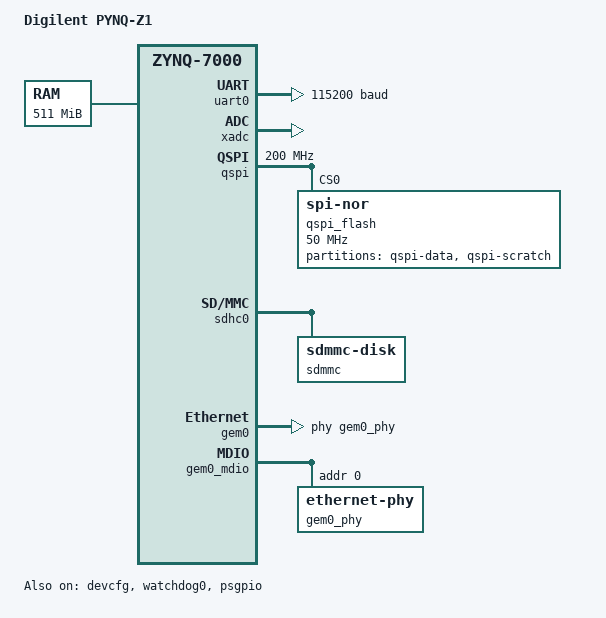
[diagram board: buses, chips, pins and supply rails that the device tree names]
/*
 * SPDX-License-Identifier: Apache-2.0
 */

/dts-v1/;
#include <xilinx/zynq7000.dtsi>
#include "pynq_z1-pinctrl.dtsi"

/ {
	compatible = "digilent,zynq-pynq-z1", "xlnx,zynq-7000";
	model = "Digilent PYNQ-Z1";

	#address-cells = <1>;
	#size-cells = <1>;

	aliases {
		watchdog0 = &watchdog0;
	};

	chosen {
		zephyr,sram = &sram0;
		zephyr,console = &uart0;
		zephyr,shell-uart = &uart0;
		zephyr,ocm = &ocm_high;
	};

	cpus {
		#address-cells = <1>;
		#size-cells = <0>;

		cpu0: cpu@0 {
			compatible = "arm,cortex-a9";
			reg = <0>;
			device_type = "cpu";
		};

		cpu1: cpu@1 {
			compatible = "arm,cortex-a9";
			reg = <1>;
			device_type = "cpu";
		};
	};

	/*
	 * 512 MB DDR3. Reserve the low 1 MB so Zephyr does not overlap memory
	 * used by U-Boot or the ARM exception vector table relocated to 0x0.
	 */
	sram0: memory@100000 {
		compatible = "mmio-sram";
		reg = <0x00100000 DT_SIZE_M(511)>;
	};
};

/* The GTC is clocked at 1/2 of the CPU frequency (650 MHz / 2 = 325 MHz) */
&arch_timer {
	clock-frequency = <325000000>;
};

&uart0 {
	current-speed = <115200>;
	clock-frequency = <100000000>;
	pinctrl-0 = <&pinctrl_uart0_default>;
	pinctrl-names = "default";
	status = "okay";
};

&devcfg {
	status = "okay";
};

&xadc {
	/* PS_CLK is a 50 MHz oscillator: ARM PLL 1300 MHz (CPU 650 MHz), IO PLL 1000 MHz */
	ps-clk-frequency = <50000000>;
	/*
	 * Arduino analog pins A0-A5 are VAUX1, VAUX9, VAUX6, VAUX15, VAUX5 and VAUX13. The board
	 * scales 0-3.3 V down to the 0-1 V XADC range; all of them are unipolar.
	 */
	xlnx,channels = <1 9 6 15 5 13>;
	status = "okay";
};

&watchdog0 {
	/* SWDT runs from CPU_1x = 650 MHz / 6 */
	clock-frequency = <108333333>;
	status = "okay";
};

&dmac_s {
	status = "okay";
};

&qspi {
	/* LQSPI reference clock: IO PLL 1000 MHz / 5, programmed by the boot firmware */
	clock-frequency = <200000000>;
	status = "okay";

	qspi_flash: flash@0 {
		compatible = "jedec,spi-nor";
		reg = <0>;
		spi-max-frequency = <50000000>;
		jedec-id = [ef 70 18]; /* Winbond W25Q128JV-IM */
		size = <DT_SIZE_M(128)>; /* bits: 16 MiB */

		partitions {
			compatible = "fixed-partitions";
			#address-cells = <1>;
			#size-cells = <1>;

			/* Untouched: whatever the board shipped or was provisioned with */
			qspi_data: partition@0 {
				label = "qspi-data";
				reg = <0x00000000 DT_SIZE_M(15)>;
				read-only;
			};

			/* The only region the tests may erase or program */
			qspi_scratch: partition@f00000 {
				label = "qspi-scratch";
				reg = <0x00f00000 DT_SIZE_M(1)>;
			};
		};
	};
};

&sdhci_ref_clk {
	/* SLCR SDIO_CLK_CTRL as left by the boot firmware: IO PLL 1000 MHz / 20 */
	clock-frequency = <DT_FREQ_M(50)>;
};

&sdhc0 {
	/*
	 * microSD slot on MIO40-45 (SDIO0). The MIO mux, card-detect routing and SDIO reference
	 * clock are programmed by the boot firmware (BootROM/FSBL/U-Boot boot from this slot).
	 */
	status = "okay";

	sdmmc {
		compatible = "zephyr,sdmmc-disk";
		disk-name = "SD";
		status = "okay";
	};
};

&psgpio {
	status = "okay";
};

&gem0 {
	phy-handle = <&gem0_phy>;
	clock-frequency = <1000000000>;
	local-mac-address = [9e 5c 1a 8a bf 53];
	status = "okay";
};

&gem0_mdio {
	status = "okay";

	gem0_phy: phy@0 {
		compatible = "ethernet-phy";
		reg = <0>;
		status = "okay";
	};
};
